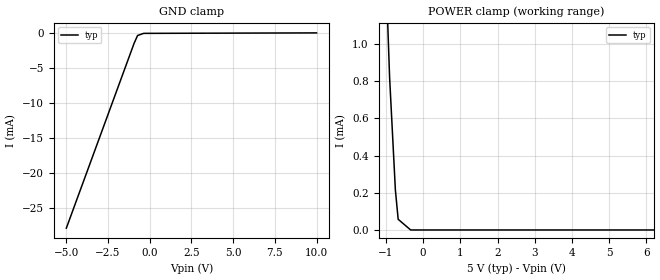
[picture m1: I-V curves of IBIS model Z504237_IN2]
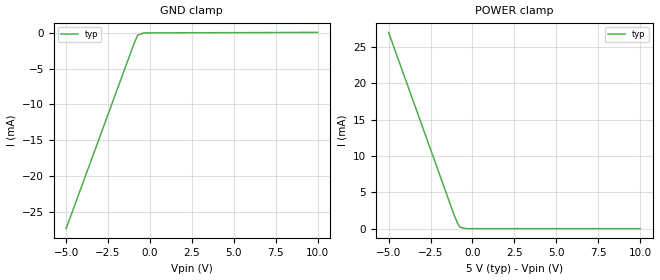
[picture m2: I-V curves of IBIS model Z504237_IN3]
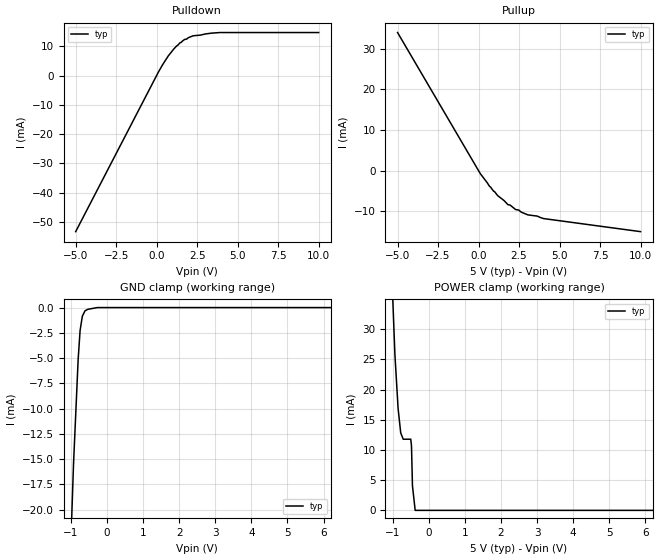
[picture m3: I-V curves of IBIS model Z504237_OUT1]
| YOU ARE ONLY AUTHORIZED TO USE THIS SOFTWARE
| ACCORDING TO LICENSOR'S LICENSE RESTRICTIONS.
[IBIS Ver] 3.1
[File Name] mc74hc4060n.ibs
[File Rev] 2.0
[Source] Measured and created by ICX Technology
[Date] Friday 7/14/00 9:08:10 AM
[Copyright]
| (C) COPYRIGHT 1993-2000
| MENTOR GRAPHICS CORPORATION
| ICX STANDARD LIBRARY, ICX PROJECT MODELING,
| ICX CUSTOM MODELING, ICX VENDOR MODEL
| ALL RIGHTS RESERVED.
| THE FOLLOWING ARE TRADEMARKS OR SERVICE MARKS OF
| MENTOR GRAPHICS CORPORATION:ICX (R), ICX STANDARD
| LIBRARY(R), ICX PROJECT MODELING(R), ICX CUSTOM
| MODELING(R), qualityIBIS(TM), MODELVIEWER(TM),
| AND MODELEDITOR(TM)
| ALL COPIES OF SOFTWARE, INCLUDING BUT NOT LIMITED TO
| ANY MODIFICATIONS, ENHANCEMENTS OR DERIVATIVE WORKS,
| MUST CONTAIN ALL MENTOR GRAPHICS CORPORATION'S
| NOTICES AND LEGENDS, INCLUDING THOSE EMBEDDED IN
| SOFTWARE AND THOSE AFFIXED TO SOFTWARE MEDIUM
| AND CONTAINER, AS RECEIVED FROM MENTOR GRAPHICS
| CORPORATION.
|  ZAP Model Builder 2.7
[Component] MC74HC4060N
[Manufacturer] OnSemiconductor
[Package]
| variable   typ   min   max
R_pkg  .212ohms NA NA
L_pkg  4.758nH NA NA
C_pkg  1.143pF NA NA
[Pin] signal_name  model_name  R_pin  L_pin C_pin
1 QL Z504237_OUT1 .224 7.258n 1.578p
2 QM Z504237_OUT1 .216 5.258n 1.288p
3 QN Z504237_OUT1 .208 3.758n .998p
4 QF Z504237_OUT1 .2 2.758n .708p
5 QE Z504237_OUT1 .2 2.758n .708p
6 QG Z504237_OUT1 .208 3.758n .998p
7 QD Z504237_OUT1 .216 5.258n 1.288p
8 GROUND GND .224 7.258n 1.578p
9 CKO Z504237_OUT1 .224 7.258n 1.578p
10 _CKO Z504237_OUT1 .216 5.258n 1.288p
11 CKI Z504237_IN2 .208 3.758n .998p
12 CLR Z504237_IN3 .2 2.758n .708p
13 QI Z504237_OUT1 .2 2.758n .708p
14 QH Z504237_OUT1 .208 3.758n .998p
15 QJ Z504237_OUT1 .216 5.258n 1.288p
16 VCC POWER .224 7.258n 1.578p
| Models and submodels in the file (3): Z504237_IN2 (Input), Z504237_IN3 (Input), Z504237_OUT1 (Output)
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| (C) COPYRIGHT 1993-2000
| MENTOR GRAPHICS CORPORATION
| ICX STANDARD LIBRARY, ICX PROJECT MODELING,
| ICX CUSTOM MODELING, ICX VENDOR MODEL
| ALL RIGHTS RESERVED.
| THE FOLLOWING ARE TRADEMARKS OR SERVICE MARKS OF
| MENTOR GRAPHICS CORPORATION:ICX (R), ICX STANDARD
| LIBRARY(R), ICX PROJECT MODELING(R), ICX CUSTOM
| MODELING(R), qualityIBIS(TM), MODELVIEWER(TM),
| AND MODELEDITOR(TM)
| ALL COPIES OF SOFTWARE, INCLUDING BUT NOT LIMITED TO
| ANY MODIFICATIONS, ENHANCEMENTS OR DERIVATIVE WORKS,
| MUST CONTAIN ALL MENTOR GRAPHICS CORPORATION'S
| NOTICES AND LEGENDS, INCLUDING THOSE EMBEDDED IN
| SOFTWARE AND THOSE AFFIXED TO SOFTWARE MEDIUM
| AND CONTAINER, AS RECEIVED FROM MENTOR GRAPHICS
| CORPORATION.
| Model Application Version 1.89 2/18/99.
[Model] Z504237_IN2
Model_type Input
Vinl = 900.0mV
Vinh = 3.150V
C_comp 4.000pF NA NA
| variable typ   min   max
[Voltage Range] 5.000V NA NA
[GND Clamp Reference] 0.000V NA NA
[POWER Clamp Reference] 5.000V NA NA
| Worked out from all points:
|   GND clamp passes 1 mA (typ) near -0.85 V on its own axis
|   POWER clamp passes 1 mA (typ) near -0.93 V on its own axis
[GND Clamp]
-5V       -27.88mA   NA         NA
-936.3mV  -1.439mA   NA         NA
-727.6mV  -325.5uA   NA         NA
-363.8mV  -23.29uA   NA         NA
10V       45.01uA    NA         NA
[POWER Clamp]
-5V       27.8mA     NA         NA
-1.093V   1.908mA    NA         NA
-903mV    822uA      NA         NA
-747mV    214.1uA    NA         NA
-672mV    57.3uA     NA         NA
-336mV    0A         NA         NA
10V       0A         NA         NA
| (C) COPYRIGHT 1993-2000
| MENTOR GRAPHICS CORPORATION
| ICX STANDARD LIBRARY, ICX PROJECT MODELING,
| ICX CUSTOM MODELING, ICX VENDOR MODEL
| ALL RIGHTS RESERVED.
| THE FOLLOWING ARE TRADEMARKS OR SERVICE MARKS OF
| MENTOR GRAPHICS CORPORATION:ICX (R), ICX STANDARD
| LIBRARY(R), ICX PROJECT MODELING(R), ICX CUSTOM
| MODELING(R), qualityIBIS(TM), MODELVIEWER(TM),
| AND MODELEDITOR(TM)
| ALL COPIES OF SOFTWARE, INCLUDING BUT NOT LIMITED TO
| ANY MODIFICATIONS, ENHANCEMENTS OR DERIVATIVE WORKS,
| MUST CONTAIN ALL MENTOR GRAPHICS CORPORATION'S
| NOTICES AND LEGENDS, INCLUDING THOSE EMBEDDED IN
| SOFTWARE AND THOSE AFFIXED TO SOFTWARE MEDIUM
| AND CONTAINER, AS RECEIVED FROM MENTOR GRAPHICS
| CORPORATION.
| Model Application Version 1.89 2/18/99.
[Model] Z504237_IN3
Model_type Input
Vinl = 900.0mV
Vinh = 3.150V
C_comp 4.000pF NA NA
| variable typ   min   max
[Voltage Range] 5.000V NA NA
[GND Clamp Reference] 0.000V NA NA
[POWER Clamp Reference] 5.000V NA NA
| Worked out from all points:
|   GND clamp passes 1 mA (typ) near -0.85 V on its own axis
|   POWER clamp passes 1 mA (typ) near -0.93 V on its own axis
[GND Clamp]
-5V       -27.33mA   NA         NA
-936.7mV  -1.437mA   NA         NA
-727.6mV  -329uA     NA         NA
-363.8mV  -25.89uA   NA         NA
10V       46uA       NA         NA
[POWER Clamp]
-5V       26.99mA    NA         NA
-1.093V   1.872mA    NA         NA
-884mV    722.4uA    NA         NA
-748mV    201.2uA    NA         NA
-374mV    0A         NA         NA
10V       0A         NA         NA
| (C) COPYRIGHT 1993-2000
| MENTOR GRAPHICS CORPORATION
| ICX STANDARD LIBRARY, ICX PROJECT MODELING,
| ICX CUSTOM MODELING, ICX VENDOR MODEL
| ALL RIGHTS RESERVED.
| THE FOLLOWING ARE TRADEMARKS OR SERVICE MARKS OF
| MENTOR GRAPHICS CORPORATION:ICX (R), ICX STANDARD
| LIBRARY(R), ICX PROJECT MODELING(R), ICX CUSTOM
| MODELING(R), qualityIBIS(TM), MODELVIEWER(TM),
| AND MODELEDITOR(TM)
| ALL COPIES OF SOFTWARE, INCLUDING BUT NOT LIMITED TO
| ANY MODIFICATIONS, ENHANCEMENTS OR DERIVATIVE WORKS,
| MUST CONTAIN ALL MENTOR GRAPHICS CORPORATION'S
| NOTICES AND LEGENDS, INCLUDING THOSE EMBEDDED IN
| SOFTWARE AND THOSE AFFIXED TO SOFTWARE MEDIUM
| AND CONTAINER, AS RECEIVED FROM MENTOR GRAPHICS
| CORPORATION.
| Model Application Version 1.89 2/18/99.
[Model] Z504237_OUT1
Model_type Output
Vref=0.000V
Rref=500.0Mohms
Cref=50.00pF
Vmeas=2.500V
C_comp 8.000pF NA NA
| variable typ   min   max
[Voltage Range] 5.000V NA NA
[POWER Clamp Reference] 5.000V NA NA
[Pullup Reference] 5.000V NA NA
[Pulldown Reference] 0.000V NA NA
[GND Clamp Reference] 0.000V NA NA
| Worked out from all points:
|   slope of the pulldown table from 0 to 0.75 V, typ, clamps not added: 109 ohm
|   slope of the pullup table from 0 to 0.75 V, typ, clamps not added: 183 ohm
|   GND clamp passes 1 mA (typ) near -0.69 V on its own axis
|   POWER clamp passes 1 mA (typ) near -0.39 V on its own axis
[GND Clamp]
-5V       -1.139A    NA         NA
-1.284V   -65.73mA   NA         NA
-1.151V   -41.88mA   NA         NA
-1.045V   -28.3mA    NA         NA
-922.8mV  -15.44mA   NA         NA
-795.6mV  -5.171mA   NA         NA
-741.7mV  -2.277mA   NA         NA
-678.7mV  -848.9uA   NA         NA
-604.4mV  -318.6uA   NA         NA
-527.2mV  -172.2uA   NA         NA
-263.6mV  0A         NA         NA
10V       0A         NA         NA
[Pulldown]
-5V       -53.33mA   NA         NA
104.9mV   1.2mA      NA         NA
717.7mV   6.746mA    NA         NA
1.055V    9.089mA    NA         NA
1.435V    11.2mA     NA         NA
1.729V    12.38mA    NA         NA
2.25V     13.62mA    NA         NA
3.383V    14.52mA    NA         NA
10V       14.73mA    NA         NA
[Pullup]
-5V       34.04mA    NA         NA
106mV     -739.1uA   NA         NA
918mV     -5.026mA   NA         NA
1.812V    -8.387mA   NA         NA
1.953V    -8.516mA   NA         NA
2.286V    -9.599mA   NA         NA
2.488V    -9.736mA   NA         NA
2.627V    -10.22mA   NA         NA
3.047V    -10.92mA   NA         NA
3.624V    -11.22mA   NA         NA
4.019V    -11.83mA   NA         NA
10V       -15.05mA   NA         NA
[POWER Clamp]
-5V       1.169A     NA         NA
-1.138V   63.22mA    NA         NA
-1.024V   39.34mA    NA         NA
-937mV    25.83mA    NA         NA
-849mV    16.9mA     NA         NA
-776mV    12.83mA    NA         NA
-706.5mV  11.78mA    NA         NA
-498mV    11.78mA    NA         NA
-478mV    10.67mA    NA         NA
-451mV    4.082mA    NA         NA
-375.8mV  0A         NA         NA
10V       0A         NA         NA
[Ramp]
| variable typ min max
dV/dt_r 2.122/3.403n NA NA
dV/dt_f 2.122/2.060n NA NA
R_load = 500.0Ohms
